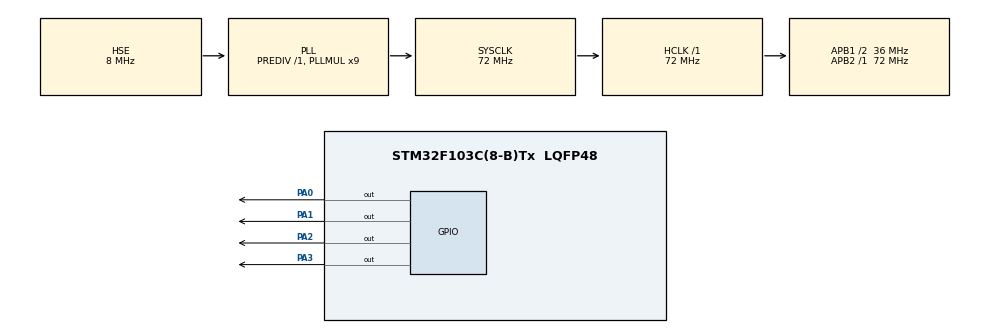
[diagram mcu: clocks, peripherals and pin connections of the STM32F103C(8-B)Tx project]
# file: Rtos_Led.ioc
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FREERTOS.Tasks01=defaultTask,0,128,StartDefaultTask,Default,NULL,Dynamic,NULL,NULL
FREERTOS.configUSE_NEWLIB_REENTRANT=1
Mcu.Family=STM32F1
Mcu.Name=STM32F103C(8-B)Tx
Mcu.Package=LQFP48
NVIC.PriorityGroup=NVIC_PRIORITYGROUP_4
NVIC.TIM4_IRQn=true\:15\:0\:false\:false\:true\:false\:false\:true\:true
NVIC.TimeBase=TIM4_IRQn
NVIC.TimeBaseIP=TIM4
PA0-WKUP.Signal=GPIO_Output
PA1.Signal=GPIO_Output
PA13.Mode=Serial_Wire
PA13.Signal=SYS_JTMS-SWDIO
PA14.Mode=Serial_Wire
PA14.Signal=SYS_JTCK-SWCLK
PA2.Signal=GPIO_Output
PA3.Signal=GPIO_Output
PD0-OSC_IN.Mode=HSE-External-Oscillator
PD0-OSC_IN.Signal=RCC_OSC_IN
PD1-OSC_OUT.Mode=HSE-External-Oscillator
PD1-OSC_OUT.Signal=RCC_OSC_OUT
ProjectManager.HeapSize=0x200
ProjectManager.StackSize=0x400
ProjectManager.TargetToolchain=STM32CubeIDE
RCC.AHBFreq_Value=72000000
RCC.APB1CLKDivider=RCC_HCLK_DIV2
RCC.APB1Freq_Value=36000000
RCC.APB1TimFreq_Value=72000000
RCC.APB2Freq_Value=72000000
RCC.APB2TimFreq_Value=72000000
RCC.HCLKFreq_Value=72000000
RCC.PLLMUL=RCC_PLL_MUL9
RCC.PLLSourceVirtual=RCC_PLLSOURCE_HSE
RCC.SYSCLKFreq_VALUE=72000000
RCC.SYSCLKSource=RCC_SYSCLKSOURCE_PLLCLK
RCC.USBFreq_Value=72000000
VP_FREERTOS_VS_CMSIS_V1.Mode=CMSIS_V1
VP_SYS_VS_tim4.Mode=TIM4
board=custom

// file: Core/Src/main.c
/* USER CODE BEGIN Header */
/**
  ******************************************************************************
  * @file           : main.c
  * @brief          : Main program body
  ******************************************************************************
  * @attention
  *
  * Copyright (c) 2026 STMicroelectronics.
  * All rights reserved.
  *
  * This software is licensed under terms that can be found in the LICENSE file
  * in the root directory of this software component.
  * If no LICENSE file comes with this software, it is provided AS-IS.
  *
  ******************************************************************************
  */
/* USER CODE END Header */
#include "main.h"
#include "cmsis_os.h"

osThreadId defaultTaskHandle;

void SystemClock_Config(void);
static void MX_GPIO_Init(void);
void StartDefaultTask(void const * argument);

/* USER CODE BEGIN PFP */
void LED1_Task(void const * argument);
void LED2_Task(void const * argument);
void LED3_Task(void const * argument);
void LED4_Task(void const * argument);
/* USER CODE END PFP */

int main(void)
{

  /* MCU Configuration--------------------------------------------------------*/

  /* Reset of all peripherals, Initializes the Flash interface and the Systick. */
  HAL_Init();

  /* Configure the system clock */
  SystemClock_Config();

  /* Initialize all configured peripherals */
  MX_GPIO_Init();

  /* Create the thread(s) */
  /* definition and creation of defaultTask */
  osThreadDef(defaultTask, StartDefaultTask, osPriorityNormal, 0, 128);
  defaultTaskHandle = osThreadCreate(osThread(defaultTask), NULL);

  osThreadDef(led1Task, LED1_Task, osPriorityNormal, 0, 128);
  osThreadCreate(osThread(led1Task), NULL);

  osThreadDef(led2Task, LED2_Task, osPriorityNormal, 0, 128);
  osThreadCreate(osThread(led2Task), NULL);

  osThreadDef(led3Task, LED3_Task, osPriorityNormal, 0, 128);
  osThreadCreate(osThread(led3Task), NULL);

  osThreadDef(led4Task, LED4_Task, osPriorityNormal, 0, 128);
  osThreadCreate(osThread(led4Task), NULL);
  /* Start scheduler */
  osKernelStart();

  /* We should never get here as control is now taken by the scheduler */

  /* Infinite loop */
  while (1)
  {

  }
}

void SystemClock_Config(void)
{
  RCC_OscInitTypeDef RCC_OscInitStruct = {0};
  RCC_ClkInitTypeDef RCC_ClkInitStruct = {0};

  /** Initializes the RCC Oscillators according to the specified parameters
  * in the RCC_OscInitTypeDef structure.
  */
  RCC_OscInitStruct.OscillatorType = RCC_OSCILLATORTYPE_HSE;
  RCC_OscInitStruct.HSEState = RCC_HSE_ON;
  RCC_OscInitStruct.HSEPredivValue = RCC_HSE_PREDIV_DIV1;
  RCC_OscInitStruct.HSIState = RCC_HSI_ON;
  RCC_OscInitStruct.PLL.PLLState = RCC_PLL_ON;
  RCC_OscInitStruct.PLL.PLLSource = RCC_PLLSOURCE_HSE;
  RCC_OscInitStruct.PLL.PLLMUL = RCC_PLL_MUL9;
  if (HAL_RCC_OscConfig(&RCC_OscInitStruct) != HAL_OK)
  {
    Error_Handler();
  }

  /** Initializes the CPU, AHB and APB buses clocks
  */
  RCC_ClkInitStruct.ClockType = RCC_CLOCKTYPE_HCLK|RCC_CLOCKTYPE_SYSCLK
                              |RCC_CLOCKTYPE_PCLK1|RCC_CLOCKTYPE_PCLK2;
  RCC_ClkInitStruct.SYSCLKSource = RCC_SYSCLKSOURCE_PLLCLK;
  RCC_ClkInitStruct.AHBCLKDivider = RCC_SYSCLK_DIV1;
  RCC_ClkInitStruct.APB1CLKDivider = RCC_HCLK_DIV2;
  RCC_ClkInitStruct.APB2CLKDivider = RCC_HCLK_DIV1;

  if (HAL_RCC_ClockConfig(&RCC_ClkInitStruct, FLASH_LATENCY_2) != HAL_OK)
  {
    Error_Handler();
  }
}

static void MX_GPIO_Init(void)
{
  GPIO_InitTypeDef GPIO_InitStruct = {0};

  /* GPIO Ports Clock Enable */
  __HAL_RCC_GPIOD_CLK_ENABLE();
  __HAL_RCC_GPIOA_CLK_ENABLE();

  /*Configure GPIO pin Output Level */
  HAL_GPIO_WritePin(GPIOA, GPIO_PIN_0|GPIO_PIN_1|GPIO_PIN_2|GPIO_PIN_3, GPIO_PIN_RESET);

  /*Configure GPIO pins : PA0 PA1 PA2 PA3 */
  GPIO_InitStruct.Pin = GPIO_PIN_0|GPIO_PIN_1|GPIO_PIN_2|GPIO_PIN_3;
  GPIO_InitStruct.Mode = GPIO_MODE_OUTPUT_PP;
  GPIO_InitStruct.Pull = GPIO_NOPULL;
  GPIO_InitStruct.Speed = GPIO_SPEED_FREQ_LOW;
  HAL_GPIO_Init(GPIOA, &GPIO_InitStruct);

}

/* USER CODE BEGIN 4 */
void LED1_Task(void const * argument)
{
  for(;;)
  {
    HAL_GPIO_TogglePin(GPIOA, GPIO_PIN_0);
    osDelay(1000); // 1 sec
  }
}

void LED2_Task(void const * argument)
{
  for(;;)
  {
    HAL_GPIO_TogglePin(GPIOA, GPIO_PIN_1);
    osDelay(500); // 0.5 sec
  }
}

void LED3_Task(void const * argument)
{
  for(;;)
  {
    HAL_GPIO_TogglePin(GPIOA, GPIO_PIN_2);
    osDelay(2000); // 2 sec
  }
}

void LED4_Task(void const * argument)
{
  for(;;)
  {
    HAL_GPIO_TogglePin(GPIOA, GPIO_PIN_3);
    osDelay(1500); // 1.5 sec
  }
}
/* USER CODE END 4 */

void StartDefaultTask(void const * argument)
{
  for(;;)
  {
    osDelay(1);
  }
}

void HAL_TIM_PeriodElapsedCallback(TIM_HandleTypeDef *htim)
{
  if (htim->Instance == TIM4)
  {
    HAL_IncTick();
  }
}

void Error_Handler(void)
{
  __disable_irq();
  while (1)
  {
  }
}
